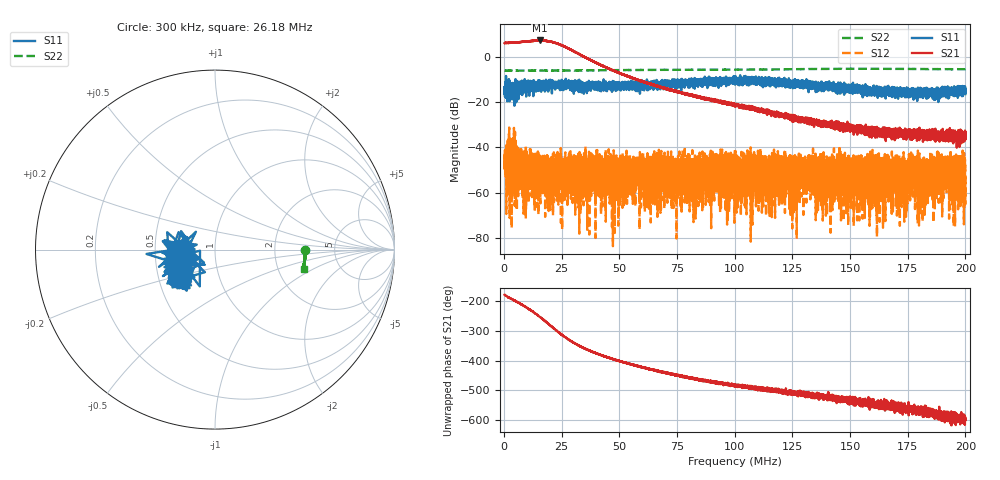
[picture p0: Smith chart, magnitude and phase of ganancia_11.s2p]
# Hz S DB R 50
! CMT, M5065, 19127446, 24.2.4/2
! Date: 11/8/2024 2:49:38 PM
! Data: Format (Calibration Info)
! Freq	S11:dB/Ang(F2)	S21:dB/Ang(F2)	S12:dB/Ang(F2)	S22:dB/Ang(F2)
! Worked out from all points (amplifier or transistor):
!   9000 points, 300 kHz to 200 MHz, reference 50 ohm
!   highest |S21| = 7.4 dB at 15.61 MHz (marker M1)
!   |S21| within 3 dB of that: start of sweep to 26.84 MHz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
!   unconditionally stable (mu >= 1): start of sweep to end of sweep
!   at 33.59 MHz: K = 86.42, MAG = 2.4 dB, |S12| = -48.7 dB
!   at 100.2 MHz: K = 1621.06, MAG = -19.1 dB, |S12| = -52.8 dB
!   at 200 MHz: K = 4702.22, MAG = -33.4 dB, |S12| = -47.6 dB
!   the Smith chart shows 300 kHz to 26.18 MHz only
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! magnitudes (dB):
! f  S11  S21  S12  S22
! 300 kHz  -13.4  6.2  -49.9  -6.0
! 2.896 MHz  -12.2  6.3  -44.4  -6.0
! 15.61 MHz  -10.3  7.4  -56.5  -6.0
! 33.59 MHz  -12.6  0.8  -48.7  -5.9
! 66.87 MHz  -12.5  -12.9  -47.9  -5.7
! 100.2 MHz  -11.4  -20.9  -52.8  -5.6
! 112.5 MHz  -10.4  -23.8  -57.3  -5.5
! 115.8 MHz  -10.0  -24.4  -49.6  -5.5
! 119.3 MHz  -11.3  -26.6  -59.7  -5.4
! 124.5 MHz  -11.0  -26.7  -49.0  -5.4
! 128.5 MHz  -11.3  -28.2  -47.1  -5.3
! 133.4 MHz  -12.3  -29.2  -44.5  -5.3
! 148.1 MHz  -14.0  -30.1  -51.3  -5.2
! 156.1 MHz  -13.1  -32.4  -45.7  -5.2
! 158.4 MHz  -15.8  -32.8  -48.7  -5.2
! 166.7 MHz  -15.6  -34.0  -45.0  -5.2
! 171 MHz  -16.4  -34.3  -53.7  -5.2
! 177.6 MHz  -15.6  -32.6  -51.8  -5.3
! 183.1 MHz  -16.5  -35.5  -56.7  -5.3
! 191.9 MHz  -14.2  -35.5  -50.1  -5.3
! 194.9 MHz  -14.7  -35.5  -48.3  -5.3
! 200 MHz  -16.4  -35.0  -47.6  -5.4
